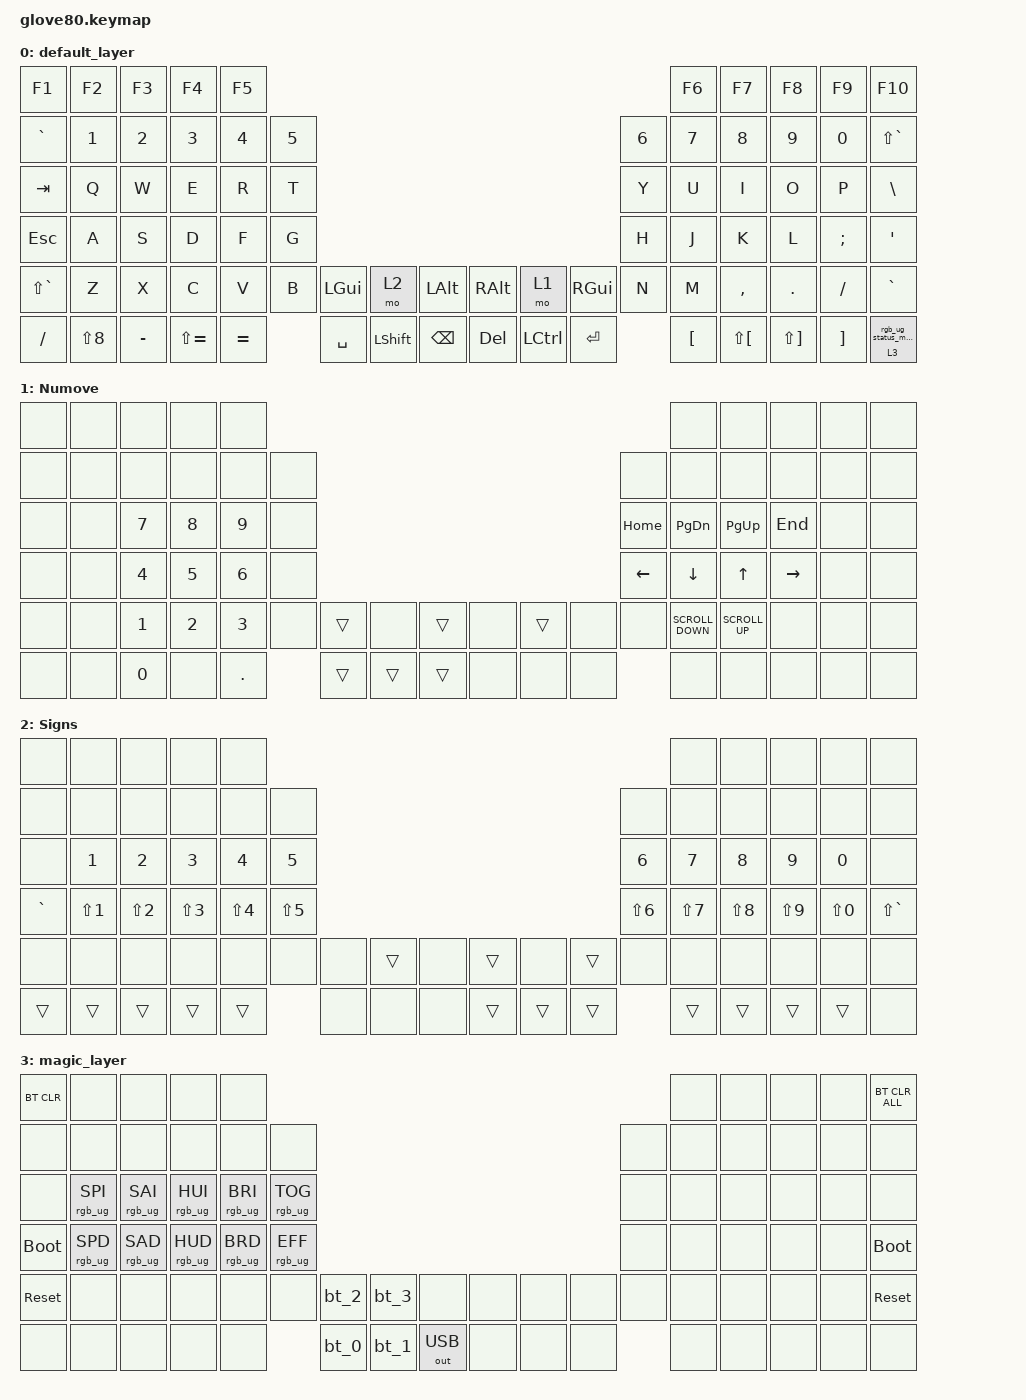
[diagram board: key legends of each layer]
/*
 * Copyright (c) 2020 The ZMK Contributors
 *
 * SPDX-License-Identifier: MIT
 */

#include <behaviors.dtsi>
#include <dt-bindings/zmk/bt.h>
#include <dt-bindings/zmk/keys.h>
#include <dt-bindings/zmk/outputs.h>
#include <dt-bindings/zmk/rgb.h>

#define HYPER LC(LS(LG(LALT)))

// layers

#define DEFAULT 0
#define LOWER 1
#define MAGIC 2
#define FACTORY_TEST 3

/ {
    behaviors {
        // For the "layer" key, it'd nice to be able to use it as either a shift or a toggle.
        // Configure it as a tap dance, so the first tap (or hold) is a &mo and the second tap is a &to

        layer_td: tap_dance_0 {
            compatible = "zmk,behavior-tap-dance";
            label = "LAYER_TAP_DANCE";
            #binding-cells = <0>;
            tapping-term-ms = <200>;
            bindings = <&mo 0>, <&to 0>;
        };

        magic: magic_hold_tap {
            compatible = "zmk,behavior-hold-tap";
            label = "MAGIC_HOLD_TAP";
            #binding-cells = <2>;
            flavor = "tap-preferred";
            tapping-term-ms = <200>;
            bindings = <&mo>, <&rgb_ug_status_macro>;
        };
    };

    macros {
        rgb_ug_status_macro: rgb_ug_status_macro_0 {
            label = "RGB_UG_STATUS";
            compatible = "zmk,behavior-macro";
            #binding-cells = <0>;
            bindings = <&rgb_ug RGB_STATUS>;
        };

        bt_0: bt_profile_macro_0 {
            label = "BT_0";
            compatible = "zmk,behavior-macro";
            #binding-cells = <0>;
            bindings = <&out OUT_BLE &bt BT_SEL 0>;
        };

        bt_1: bt_profile_macro_1 {
            label = "BT_1";
            compatible = "zmk,behavior-macro";
            #binding-cells = <0>;
            bindings = <&out OUT_BLE &bt BT_SEL 1>;
        };

        bt_2: bt_profile_macro_2 {
            label = "BT_2";
            compatible = "zmk,behavior-macro";
            #binding-cells = <0>;
            bindings = <&out OUT_BLE &bt BT_SEL 2>;
        };

        bt_3: bt_profile_macro_3 {
            label = "BT_3";
            compatible = "zmk,behavior-macro";
            #binding-cells = <0>;
            bindings = <&out OUT_BLE &bt BT_SEL 3>;
        };
    };

    keymap {
        compatible = "zmk,keymap";

        default_layer {
            // ---------------------------------------------------------------------------------------------------------------------------------
            // |  F1   |  F2 |  F3 |  F4  |  F5  |                                                               |  F6   |  F7   |  F8  |   F9  |  F10 |
            // |  =    |  1  |  2  |  3   |  4   |  5   |                                                 |  6   |   7   |   8   |  9   |   0   |   -  |
            // |  TAB  |  Q  |  W  |  E   |  R   |  T   |                                                 |  Y   |   U   |   I   |  O   |   P   |   \  |
            // |  ESC  |  A  |  S  |  D   |  F   |  G   |                                                 |  H   |   J   |   K   |  L   |   ;   |   '  |
            // |   `   |  Z  |  X  |  C   |  V   |  B   | LSHFT | LCTRL | LOWER | | LGUI  | RCTRL | RSHFT |  N   |   M   |   ,   |  .   |   /   | PGUP |
            // | MAGIC | HOME| END | LEFT | RIGHT|      | BSPC  | DEL   | LALT  | | RALT  | RET   | SPACE |      |  UP   | DOWN  |  [   |   ]   | PGDN |

            bindings = <
&kp F1         &kp F2      &kp F3     &kp F4         &kp F5                                                                                                                    &kp F6            &kp F7                &kp F8                 &kp F9             &kp F10
&kp GRAVE      &kp N1      &kp N2     &kp N3         &kp N4     &kp N5                                                                                                 &kp N6  &kp N7            &kp N8                &kp N9                 &kp N0             &kp LS(GRAVE)
&kp TAB        &kp Q       &kp W      &kp E          &kp R      &kp T                                                                                                  &kp Y   &kp U             &kp I                 &kp O                  &kp P              &kp BSLH
&kp ESC        &kp A       &kp S      &kp D          &kp F      &kp G                                                                                                  &kp H   &kp J             &kp K                 &kp L                  &kp SEMI           &kp SQT
&kp LS(GRAVE)  &kp Z       &kp X      &kp C          &kp V      &kp B   &kp LEFT_GUI  &mo 2           &kp LEFT_ALT     &kp RIGHT_ALT  &mo 1             &kp RIGHT_GUI  &kp N   &kp M             &kp COMMA             &kp DOT                &kp FSLH           &kp GRAVE
&kp SLASH      &kp LS(N8)  &kp MINUS  &kp LS(EQUAL)  &kp EQUAL          &kp SPACE     &kp LEFT_SHIFT  &kp BACKSPACE    &kp DELETE     &kp LEFT_CONTROL  &kp ENTER              &kp LEFT_BRACKET  &kp LS(LEFT_BRACKET)  &kp LS(RIGHT_BRACKET)  &kp RIGHT_BRACKET  &magic 3 0
            >;
        };

        Numove {
            bindings = <
&none  &none  &none         &none         &none                                                                                &none              &none            &none            &none  &none
&none  &none  &none         &none         &none         &none                                                  &none           &none              &none            &none            &none  &none
&none  &none  &kp N7        &kp N8        &kp N9        &none                                                  &kp HOME        &kp PAGE_DOWN      &kp PAGE_UP      &kp END          &none  &none
&none  &none  &kp NUMBER_4  &kp N5        &kp NUMBER_6  &none                                                  &kp LEFT_ARROW  &kp DOWN_ARROW     &kp UP_ARROW     &kp RIGHT_ARROW  &none  &none
&none  &none  &kp NUMBER_1  &kp NUMBER_2  &kp NUMBER_3  &none  &trans  &none   &trans    &none  &trans  &none  &none           &kp K_SCROLL_DOWN  &kp K_SCROLL_UP  &none            &none  &none
&none  &none  &kp N0        &none         &kp DOT              &trans  &trans  &trans    &none  &none   &none                  &none              &none            &none            &none  &none
            >;
        };

        Signs {
            bindings = <
&none      &none       &none       &none       &none                                                                               &none       &none       &none       &none       &none
&none      &none       &none       &none       &none       &none                                                       &none       &none       &none       &none       &none       &none
&none      &kp N1      &kp N2      &kp N3      &kp N4      &kp N5                                                      &kp N6      &kp N7      &kp N8      &kp N9      &kp N0      &none
&kp GRAVE  &kp LS(N1)  &kp LS(N2)  &kp LS(N3)  &kp LS(N4)  &kp LS(N5)                                                  &kp LS(N6)  &kp LS(N7)  &kp LS(N8)  &kp LS(N9)  &kp LS(N0)  &kp LS(GRAVE)
&none      &none       &none       &none       &none       &none       &none  &trans  &none    &trans  &none   &trans  &none       &none       &none       &none       &none       &none
&trans     &trans      &trans      &trans      &trans                  &none  &none   &none    &trans  &trans  &trans              &trans      &trans      &trans      &trans      &none
            >;
        };

        magic_layer {
            bindings = <
&bt BT_CLR   &none            &none            &none            &none                                                                                       &none  &none  &none  &none  &bt BT_CLR_ALL
&none        &none            &none            &none            &none            &none                                                               &none  &none  &none  &none  &none  &none
&none        &rgb_ug RGB_SPI  &rgb_ug RGB_SAI  &rgb_ug RGB_HUI  &rgb_ug RGB_BRI  &rgb_ug RGB_TOG                                                     &none  &none  &none  &none  &none  &none
&bootloader  &rgb_ug RGB_SPD  &rgb_ug RGB_SAD  &rgb_ug RGB_HUD  &rgb_ug RGB_BRD  &rgb_ug RGB_EFF                                                     &none  &none  &none  &none  &none  &bootloader
&sys_reset   &none            &none            &none            &none            &none            &bt_2  &bt_3  &none           &none  &none  &none  &none  &none  &none  &none  &none  &sys_reset
&none        &none            &none            &none            &none                             &bt_0  &bt_1  &out OUT_USB    &none  &none  &none         &none  &none  &none  &none  &none
            >;
        };
    };
};
